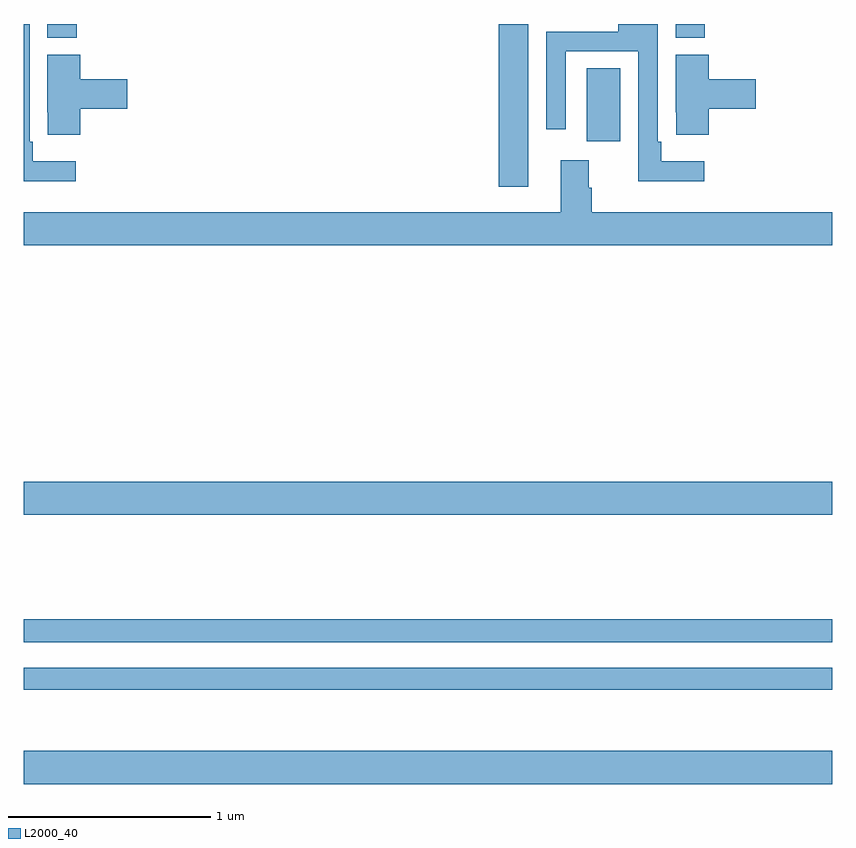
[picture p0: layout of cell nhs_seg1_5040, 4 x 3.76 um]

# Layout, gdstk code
import gdstk
lib = gdstk.Library(unit=1e-6, precision=1e-09)
def R(c, l, rs):  # rectangles x0, y0, x1, y1
    for r in rs: c.add(gdstk.rectangle(r[:2], r[2:], *l))
def P(c, l, *ps):  # polygons
    for p in ps: c.add(gdstk.Polygon(p, *l))
L2000_40 = (2000, 40)

nhs_seg1_5040 = lib.new_cell('nhs_seg1_5040')
R(nhs_seg1_5040, L2000_40, [(385,510.44,389,510.604), (385,510.906,389,511.014), (385,511.14,389,511.256), (385,511.772,389,511.936), (387.35,513.393,387.496,514.199), (387.785,513.618,387.952,513.98), (385.118,514.132,385.262,514.199), (388.226,514.132,388.37,514.199)])
P(nhs_seg1_5040, L2000_40, [(385.258,513.52),(385.045,513.52),(385.045,513.616),(385.029,513.616),(385.029,514.199),(385,514.199),(385,513.422),(385.258,513.422)],
  [(388.366,513.52),(388.153,513.52),(388.153,513.616),(388.137,513.616),(388.137,514.199),(387.941,514.199),(387.941,514.161),(387.585,514.161),(387.585,513.678),(387.681,513.678),(387.681,514.065),(388.041,514.065),(388.041,513.422),(388.366,513.422)],
  [(385.28,513.779),(385.513,513.779),(385.513,513.926),(385.28,513.926),(385.28,514.047),(385.118,514.047),(385.118,513.763),(385.119,513.763),(385.119,513.651),(385.28,513.651)],
  [(388.388,513.779),(388.621,513.779),(388.621,513.926),(388.388,513.926),(388.388,514.047),(388.226,514.047),(388.226,513.763),(388.227,513.763),(388.227,513.651),(388.388,513.651)],
  [(389,513.268),(387.809,513.268),(387.809,513.389),(387.796,513.389),(387.796,513.526),(387.656,513.526),(387.656,513.268),(385,513.268),(385,513.104),(389,513.104)])

lib.write_gds('nhs_seg1_5040.gds')
